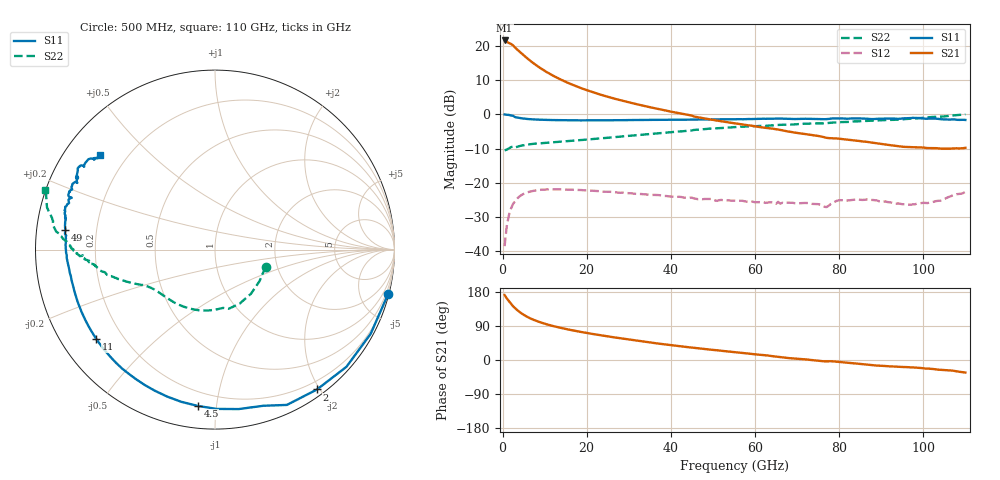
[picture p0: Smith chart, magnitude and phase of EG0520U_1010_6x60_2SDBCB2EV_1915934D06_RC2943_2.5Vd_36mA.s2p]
!File name = EG0520U_1010_6x60_2SDBCB2EV_1915934D06_RC2943_2.5Vd_36mA.s2p
!Base file name = EG0520U_1010_6x60_2SDBCB2EV_1915934D06_RC2943
!Date = 8/23/2019
!Time = 1:02 PM
!Test duration(min) = 0.15
!Test = S-Parameters
!MPTS version = 8.91.5
!State File = C:\Data\PNA\20190821205423\S-Parameters_2019-08-23.sta
!Cal File =
!ComputerName = CMPE-LAB-6
!Comments =
!Attenuation = 0
!Z0 = 50
!Input Power(dBm) = -13.00
!Device ID = EG0520U_1010_6x60_2SDBCB2EV
!Row = 29
!Column = 43
!Technology = QPHT09
!Lot/Wafer = 1915934D06
!Gate Size = 360
!Mask = EG0520
!Cal Standards = GaAs BCB
!Cal Kit = EG2306
!Job Number = 20190821205423
!Device Type = FET
!set_Vg(v) = -1.500
!set_Vd(v) = 2.500
!set_Vd(mA) = 36.000
!file_name = EG0520U_1010_6x60_2SDBCB2EV_1915934D06_RC2943_2.5Vd_36mA.s2p
!Vd(V) = 2.500
!Vd(mA) = 36.001
!Vg(V) = -0.500
!Vg(mA) = -0.001
# GHz  S  DB  R  50
!%	Freq(GHz)  s11(dB)  s11(deg)  s21(dB)  s21(deg)  s12(dB)  s12(deg)  s22(dB)  s22(deg)
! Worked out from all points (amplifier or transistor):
!   220 points, 500 MHz to 110 GHz, reference 50 ohm
!   highest |S21| = 21.6 dB at 500 MHz (marker M1)
!   |S21| within 3 dB of that: start of sweep to 3.817 GHz
!   unconditionally stable (mu >= 1): 34.94 GHz to 97.09 GHz
!   at 18.5 GHz: K = 0.52, MSG = 14.9 dB, |S12| = -22.1 dB
!   at 55.5 GHz: K = 1.51, MAG = 7.1 dB, |S12| = -25.3 dB
!   at 110 GHz: K = -0.85, MSG = 6.4 dB, |S12| = -22.7 dB
!   S11 on the Smith chart (normalised r, x): 500 MHz: 0.13, -7.93; 2 GHz: 0.09, -1.96; 4.5 GHz: 0.12, -0.89; 11 GHz: 0.10, -0.33; 49 GHz: 0.09, +0.07; 110 GHz: 0.11, +0.35
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0.5  -0.04 -14.4  21.63 171.3  -38.57 81.5  -10.52 -18.6
1  -0.12 -28.4  21.24 162.7  -32.79 73.8  -10.34 -35.5
2  -0.31 -53.9  20.62 148.2  -27.61 59.7  -9.60 -65.6
2.5  -0.41 -65.2  20.20 141.8  -26.23 53.9  -9.41 -77.0
3  -0.81 -72.8  19.52 136.8  -25.40 49.6  -9.68 -82.0
3.5  -0.93 -81.6  18.98 131.7  -24.64 45.2  -9.48 -90.3
4.5  -1.15 -96.3  17.86 123.1  -23.62 37.7  -9.14 -103.8
5.5  -1.30 -108.0  16.79 116.2  -23.01 32.0  -8.94 -113.9
6  -1.36 -113.0  16.27 113.1  -22.78 29.6  -8.84 -117.8
7  -1.46 -121.4  15.29 107.8  -22.46 25.4  -8.67 -124.4
9  -1.57 -133.8  13.53 99.5  -22.08 19.2  -8.46 -133.1
11  -1.64 -142.9  12.02 92.7  -21.95 14.6  -8.26 -139.2
14.5  -1.71 -153.9  9.81 83.2  -21.97 8.9  -7.92 -145.7
19  -1.75 -162.9  7.53 73.3  -22.18 4.2  -7.47 -150.4
26.5  -1.73 -172.3  4.63 59.8  -22.74 0.2  -6.67 -155.2
37  -1.59 179.4  1.57 43.4  -23.62 -1.7  -5.54 -160.5
49  -1.49 172.4  -1.40 27.8  -24.77 -1.7  -4.19 -166.8
55.5  -1.43 169.0  -2.67 20.5  -25.27 0.1  -3.70 -169.9
73.5  -1.34 160.6  -6.05 -0.2  -26.19 -2.7  -2.63 -176.5
92  -1.25 152.0  -8.99 -16.7  -25.72 -16.1  -1.63 176.9
101  -1.25 147.6  -9.86 -22.7  -25.96 -12.0  -0.86 172.1
110  -1.64 140.7  -9.79 -33.2  -22.65 -21.4  0.02 160.7
